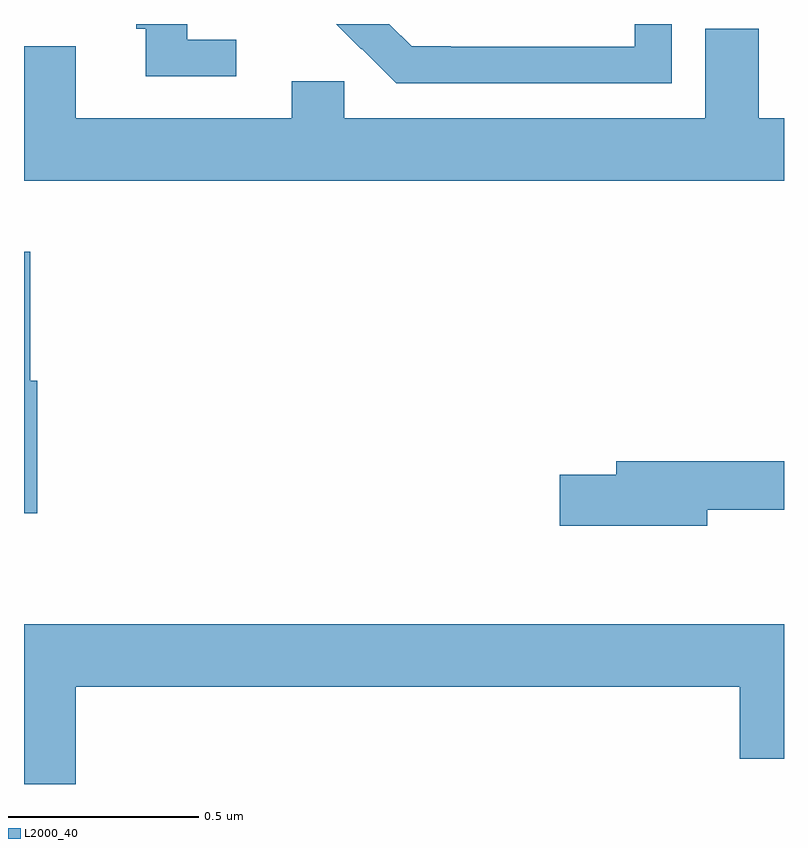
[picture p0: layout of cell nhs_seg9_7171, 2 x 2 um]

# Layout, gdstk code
import gdstk
lib = gdstk.Library(unit=1e-6, precision=1e-09)
def P(c, l, *ps):  # polygons
    for p in ps: c.add(gdstk.Polygon(p, *l))
L2000_40 = (2000, 40)

nhs_seg9_7171 = lib.new_cell('nhs_seg9_7171')
P(nhs_seg9_7171, L2000_40, [(202.704,1195.5),(202.607,1195.5),(202.607,1195.44),(202.123,1195.44),(202.123,1195.441),(202.02,1195.441),(201.961,1195.5),(201.822,1195.5),(201.888,1195.434),(201.889,1195.435),(201.98,1195.344),(202.704,1195.344)],
  [(201.559,1195.459),(201.43,1195.459),(201.43,1195.5),(201.296,1195.5),(201.296,1195.487),(201.32,1195.487),(201.32,1195.362),(201.559,1195.362)],
  [(203,1195.252),(202.933,1195.252),(202.933,1195.488),(202.793,1195.488),(202.793,1195.252),(201.843,1195.252),(201.843,1195.35),(201.704,1195.35),(201.704,1195.252),(201.136,1195.252),(201.136,1195.441),(201,1195.441),(201,1195.088),(203,1195.088)],
  [(201.035,1194.561),(201.017,1194.561),(201.017,1194.901),(201,1194.901),(201,1194.213),(201.035,1194.213)],
  [(202.798,1194.222),(203,1194.222),(203,1194.35),(202.559,1194.35),(202.559,1194.314),(202.41,1194.314),(202.41,1194.179),(202.798,1194.179)],
  [(201.136,1193.756),(202.883,1193.756),(202.883,1193.567),(203,1193.567),(203,1193.92),(201,1193.92),(201,1193.5),(201.136,1193.5)])

lib.write_gds('nhs_seg9_7171.gds')
